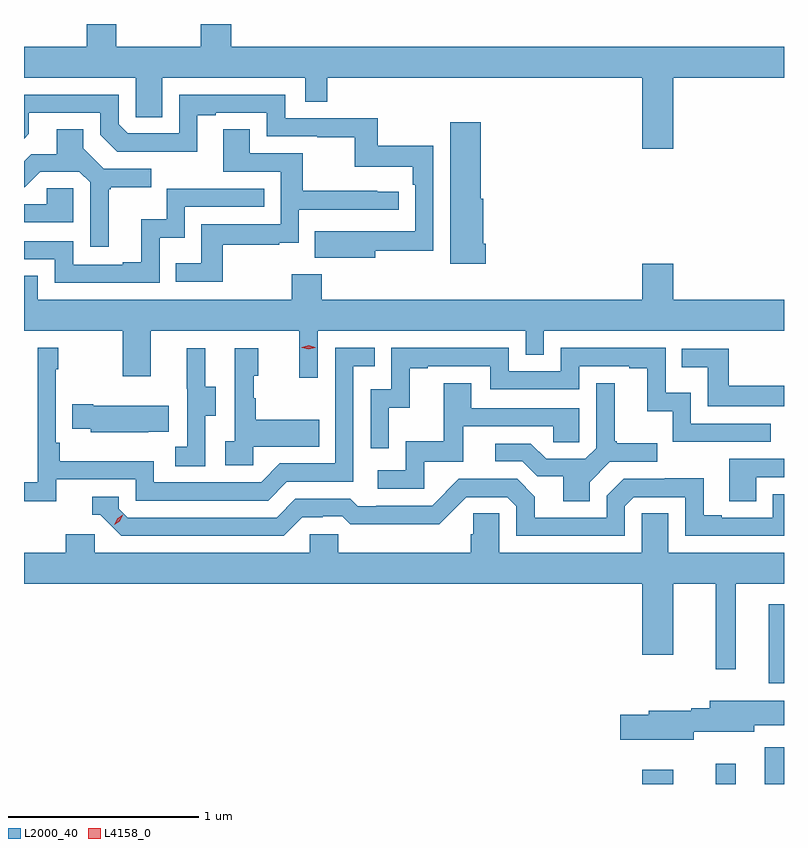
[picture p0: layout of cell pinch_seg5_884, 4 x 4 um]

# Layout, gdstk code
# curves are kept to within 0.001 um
import gdstk
lib = gdstk.Library(unit=1e-6, precision=1e-09)
def R(c, l, rs):  # rectangles x0, y0, x1, y1
    for r in rs: c.add(gdstk.rectangle(r[:2], r[2:], *l))
def P(c, l, *ps):  # polygons
    for p in ps: c.add(gdstk.Polygon(p, *l))
L2000_40 = (2000, 40)
L4158_0 = (4158, 0)

pinch_seg5_884 = lib.new_cell('pinch_seg5_884')
R(pinch_seg5_884, L2000_40, [(872.3,883.679,872.464,883.753), (872.687,883.679,872.791,883.786), (872.945,883.679,873.046,883.873), (872.966,884.21,873.046,884.626)])
P(pinch_seg5_884, L2000_40, [(872.464,887.396),(873.046,887.396),(873.046,887.56),(870.137,887.56),(870.137,887.679),(869.977,887.679),(869.977,887.56),(869.532,887.56),(869.532,887.679),(869.377,887.679),(869.377,887.56),(869.046,887.56),(869.046,887.396),(869.634,887.396),(869.634,887.188),(869.773,887.188),(869.773,887.396),(870.525,887.396),(870.525,887.269),(870.641,887.269),(870.641,887.396),(872.3,887.396),(872.3,887.022),(872.464,887.022)],
  [(870.895,886.486),(871.2,886.486),(871.2,887.038),(870.907,887.038),(870.907,887.184),(870.42,887.184),(870.42,887.307),(869.862,887.307),(869.862,887.103),(869.592,887.103),(869.544,887.151),(869.544,887.307),(869.046,887.307),(869.046,887.076),(869.071,887.101),(869.071,887.211),(869.448,887.211),(869.448,887.097),(869.538,887.007),(869.959,887.006),(869.959,887.199),(870.055,887.199),(870.055,887.211),(870.324,887.211),(870.324,887.088),(870.589,887.088),(870.589,887.083),(870.786,887.083),(870.786,886.928),(871.091,886.928),(871.091,886.832),(871.104,886.832),(871.104,886.587),(870.577,886.588),(870.577,886.448),(870.895,886.448)],
  [(871.475,886.522),(871.462,886.522),(871.462,886.758),(871.45,886.758),(871.45,887.161),(871.289,887.161),(871.289,886.418),(871.475,886.418)],
  [(870.091,886.518),(870.389,886.518),(870.389,886.529),(870.492,886.529),(870.492,886.701),(871.018,886.701),(871.018,886.797),(870.905,886.797),(870.905,886.802),(870.512,886.802),(870.512,886.998),(870.235,886.998),(870.235,887.126),(870.095,887.126),(870.095,886.902),(870.396,886.902),(870.396,886.626),(869.98,886.626),(869.98,886.42),(869.845,886.42),(869.845,886.323),(870.091,886.323)],
  [(869.491,886.809),(869.503,886.809),(869.503,886.82),(869.716,886.82),(869.716,886.917),(869.466,886.917),(869.359,887.024),(869.359,887.126),(869.219,887.126),(869.219,886.994),(869.084,886.994),(869.046,886.956),(869.046,886.821),(869.05,886.821),(869.131,886.902),(869.337,886.902),(869.394,886.845),(869.394,886.506),(869.491,886.506)],
  [(869.304,886.815),(869.167,886.815),(869.167,886.731),(869.046,886.731),(869.046,886.635),(869.304,886.635)],
  [(869.76,886.553),(869.892,886.553),(869.892,886.716),(870.311,886.716),(870.311,886.812),(869.796,886.812),(869.796,886.651),(869.663,886.651),(869.663,886.426),(869.567,886.426),(869.567,886.413),(869.304,886.413),(869.304,886.536),(869.046,886.536),(869.046,886.44),(869.208,886.44),(869.208,886.317),(869.76,886.317)],
  [(870.591,886.064),(871.686,886.064),(871.686,885.937),(871.782,885.937),(871.782,886.064),(873.046,886.064),(873.046,886.228),(872.464,886.228),(872.464,886.417),(872.3,886.417),(872.3,886.228),(870.614,886.228),(870.614,886.363),(870.454,886.363),(870.454,886.228),(869.118,886.228),(869.118,886.355),(869.046,886.355),(869.046,886.064),(869.566,886.064),(869.566,885.825),(869.713,885.825),(869.713,886.064),(870.494,886.064),(870.494,885.816),(870.591,885.816)],
  [(869.216,885.282),(869.634,885.282),(869.634,885.171),(870.331,885.171),(870.43,885.27),(870.78,885.27),(870.78,885.879),(870.893,885.879),(870.893,885.975),(870.684,885.975),(870.684,885.366),(870.393,885.366),(870.294,885.267),(869.73,885.267),(869.73,885.379),(869.234,885.379),(869.234,885.475),(869.214,885.475),(869.214,885.863),(869.227,885.863),(869.227,885.976),(869.118,885.976),(869.118,885.268),(869.046,885.268),(869.046,885.166),(869.216,885.166)],
  [(870.966,885.659),(871.076,885.659),(871.076,885.867),(871.171,885.867),(871.171,885.879),(871.5,885.879),(871.5,885.756),(871.968,885.756),(871.968,885.879),(872.231,885.879),(872.231,885.867),(872.327,885.867),(872.327,885.641),(872.46,885.641),(872.46,885.48),(872.975,885.48),(872.975,885.576),(872.556,885.576),(872.556,885.739),(872.424,885.739),(872.424,885.975),(871.872,885.975),(871.872,885.852),(871.596,885.852),(871.596,885.975),(870.978,885.975),(870.978,885.756),(870.87,885.756),(870.87,885.447),(870.966,885.447)],
  [(870,885.616),(870.055,885.616),(870.055,885.771),(870.001,885.771),(870.001,885.973),(869.903,885.973),(869.903,885.759),(869.904,885.759),(869.904,885.455),(869.841,885.455),(869.841,885.352),(870,885.352)],
  [(870.252,885.455),(870.599,885.455),(870.599,885.595),(870.265,885.595),(870.265,885.71),(870.255,885.71),(870.255,885.828),(870.28,885.828),(870.28,885.973),(870.156,885.973),(870.156,885.482),(870.105,885.482),(870.105,885.357),(870.252,885.357)],
  [(873.046,885.775),(872.755,885.775),(872.755,885.969),(872.509,885.969),(872.509,885.872),(872.644,885.872),(872.644,885.666),(873.046,885.666)],
  [(872.023,885.268),(872.13,885.375),(872.38,885.375),(872.38,885.472),(872.167,885.472),(872.167,885.484),(872.155,885.484),(872.155,885.787),(872.058,885.787),(872.058,885.447),(872.001,885.39),(871.795,885.39),(871.714,885.471),(871.527,885.471),(871.527,885.378),(871.668,885.378),(871.748,885.298),(871.883,885.298),(871.883,885.166),(872.023,885.166)],
  [(871.152,885.375),(871.357,885.375),(871.357,885.561),(871.831,885.561),(871.831,885.477),(871.968,885.477),(871.968,885.657),(871.399,885.657),(871.399,885.787),(871.255,885.787),(871.255,885.484),(871.056,885.484),(871.056,885.33),(870.909,885.33),(870.909,885.234),(871.152,885.234)],
  [(869.699,885.533),(869.807,885.533),(869.807,885.67),(869.41,885.67),(869.41,885.678),(869.299,885.678),(869.299,885.548),(869.397,885.548),(869.397,885.53),(869.699,885.53)],
  [(872.899,885.294),(873.046,885.294),(873.046,885.39),(872.759,885.39),(872.759,885.166),(872.899,885.166)],
  [(870.511,885.084),(870.618,885.084),(870.618,885.087),(870.721,885.087),(870.763,885.045),(870.996,885.045),(870.996,885.047),(871.232,885.047),(871.374,885.189),(871.59,885.189),(871.638,885.141),(871.638,884.985),(872.208,884.985),(872.208,885.141),(872.256,885.189),(872.526,885.189),(872.526,884.985),(873.046,884.985),(873.046,885.204),(872.988,885.204),(872.988,885.081),(872.719,885.081),(872.719,885.094),(872.623,885.094),(872.623,885.287),(872.418,885.287),(872.418,885.285),(872.202,885.285),(872.112,885.195),(872.112,885.081),(871.735,885.081),(871.735,885.191),(871.641,885.285),(871.335,885.285),(871.194,885.144),(870.901,885.144),(870.901,885.141),(870.802,885.141),(870.763,885.18),(870.474,885.18),(870.375,885.081),(869.592,885.081),(869.544,885.129),(869.544,885.192),(869.405,885.192),(869.405,885.096),(869.448,885.096),(869.559,884.985),(870.412,884.985)],
  [(872.791,884.732),(873.046,884.732),(873.046,884.896),(872.437,884.896),(872.437,885.104),(872.298,885.104),(872.298,884.896),(871.548,884.896),(871.548,885.104),(871.411,885.104),(871.411,884.994),(871.397,884.994),(871.397,884.896),(870.699,884.896),(870.699,884.994),(870.549,884.994),(870.549,884.896),(869.418,884.896),(869.418,884.994),(869.267,884.994),(869.267,884.896),(869.046,884.896),(869.046,884.732),(872.3,884.732),(872.3,884.358),(872.464,884.358),(872.464,884.732),(872.687,884.732),(872.687,884.283),(872.791,884.283)],
  [(872.572,883.955),(872.89,883.955),(872.89,883.987),(873.046,883.987),(873.046,884.116),(872.654,884.116),(872.654,884.078),(872.558,884.078),(872.558,884.065),(872.333,884.065),(872.333,884.043),(872.184,884.043),(872.184,883.913),(872.572,883.913)])
P(pinch_seg5_884, L4158_0, [(869.52,885.044),(869.52,885.044),(869.536,885.076),(869.567,885.095),(869.567,885.095),(869.567,885.095),(869.551,885.063),(869.52,885.044)],
  [(870.544,885.967),(870.509,885.976),(870.509,885.977),(870.509,885.977),(870.544,885.987),(870.579,885.977),(870.579,885.977),(870.579,885.976)])

lib.write_gds('pinch_seg5_884.gds')
